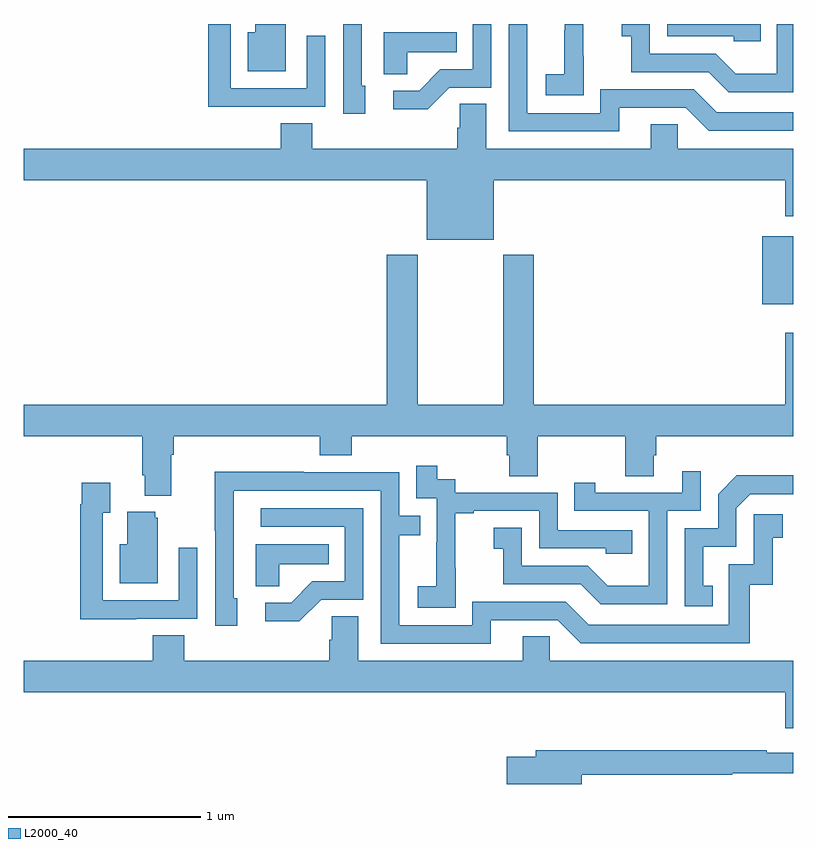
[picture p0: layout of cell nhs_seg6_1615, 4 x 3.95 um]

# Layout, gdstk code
import gdstk
lib = gdstk.Library(unit=1e-6, precision=1e-09)
def R(c, l, rs):  # rectangles x0, y0, x1, y1
    for r in rs: c.add(gdstk.rectangle(r[:2], r[2:], *l))
def P(c, l, *ps):  # polygons
    for p in ps: c.add(gdstk.Polygon(p, *l))
L2000_40 = (2000, 40)

nhs_seg6_1615 = lib.new_cell('nhs_seg6_1615')
R(nhs_seg6_1615, L2000_40, [(212.84,928.043,213,928.396)])
P(nhs_seg6_1615, L2000_40, [(213,929.5),(212.916,929.5),(212.916,929.242),(212.702,929.242),(212.598,929.346),(212.256,929.346),(212.256,929.5),(212.109,929.5),(212.109,929.435),(212.158,929.435),(212.158,929.25),(212.561,929.25),(212.666,929.145),(213,929.145)],
  [(210.361,929.5),(210.203,929.5),(210.203,929.458),(210.164,929.458),(210.164,929.255),(210.361,929.255)],
  [(210.251,929.07),(210.567,929.07),(210.567,929.44),(210.471,929.44),(210.471,929.166),(210.075,929.166),(210.075,929.5),(209.959,929.5),(209.959,929.069),(210.251,929.069)],
  [(211.911,929.335),(211.91,929.335),(211.91,929.5),(211.812,929.5),(211.812,929.468),(211.811,929.468),(211.811,929.239),(211.713,929.239),(211.713,929.129),(211.911,929.129)],
  [(212.095,929.064),(212.442,929.064),(212.562,928.944),(213,928.944),(213,929.04),(212.604,929.04),(212.484,929.16),(211.998,929.16),(211.998,929.037),(211.617,929.037),(211.617,929.5),(211.521,929.5),(211.521,928.941),(212.095,928.941)],
  [(210.775,929.178),(210.756,929.178),(210.756,929.5),(210.66,929.5),(210.66,929.034),(210.775,929.034)],
  [(212.831,929.5),(212.346,929.5),(212.346,929.436),(212.691,929.436),(212.691,929.409),(212.831,929.409)],
  [(211.212,929.169),(211.431,929.169),(211.431,929.5),(211.335,929.5),(211.335,929.265),(211.166,929.265),(211.055,929.154),(210.921,929.154),(210.921,929.057),(211.099,929.057)],
  [(210.993,929.354),(211.25,929.354),(211.25,929.458),(210.872,929.458),(210.872,929.239),(210.993,929.239)],
  [(212.4,928.979),(212.261,928.979),(212.261,928.852),(211.405,928.852),(211.405,929.084),(211.266,929.084),(211.266,928.961),(211.253,928.961),(211.253,928.852),(210.5,928.852),(210.5,928.985),(210.335,928.985),(210.335,928.852),(209,928.852),(209,928.688),(211.094,928.688),(211.094,928.379),(211.444,928.379),(211.444,928.688),(212.96,928.688),(212.96,928.5),(213,928.5),(213,928.852),(212.4,928.852)],
  [(209.767,927.26),(209.78,927.26),(209.78,927.356),(210.539,927.356),(210.539,927.257),(210.704,927.257),(210.704,927.356),(211.511,927.356),(211.511,927.258),(211.523,927.258),(211.523,927.148),(211.671,927.148),(211.671,927.356),(212.128,927.356),(212.128,927.148),(212.275,927.148),(212.275,927.258),(212.288,927.258),(212.288,927.356),(213,927.356),(213,927.895),(212.96,927.895),(212.96,927.52),(211.652,927.52),(211.652,928.3),(211.492,928.3),(211.492,927.52),(211.047,927.52),(211.047,928.3),(210.887,928.3),(210.887,927.52),(209,927.52),(209,927.356),(209.615,927.356),(209.615,927.154),(209.627,927.154),(209.627,927.047),(209.767,927.047)],
  [(211.245,926.671),(211.244,926.671),(211.244,926.955),(211.339,926.955),(211.339,926.967),(211.68,926.967),(211.68,926.772),(212.025,926.772),(212.025,926.745),(212.165,926.745),(212.165,926.868),(211.776,926.868),(211.776,927.063),(211.242,927.063),(211.242,927.132),(211.15,927.132),(211.15,927.202),(211.041,927.202),(211.041,927.033),(211.146,927.033),(211.146,926.804),(211.145,926.804),(211.145,926.575),(211.047,926.575),(211.047,926.465),(211.245,926.465)],
  [(212.346,926.967),(212.52,926.967),(212.52,927.175),(212.423,927.175),(212.423,927.063),(211.972,927.063),(211.972,927.115),(211.861,927.115),(211.861,926.967),(212.25,926.967),(212.25,926.578),(212.036,926.578),(211.932,926.682),(211.59,926.682),(211.59,926.881),(211.443,926.881),(211.443,926.771),(211.492,926.771),(211.492,926.586),(211.895,926.586),(212,926.481),(212.346,926.481)],
  [(211.429,926.4),(211.776,926.4),(211.896,926.28),(212.776,926.28),(212.776,926.583),(212.894,926.583),(212.894,926.829),(212.947,926.829),(212.947,926.95),(212.796,926.95),(212.796,926.691),(212.667,926.691),(212.667,926.376),(211.938,926.376),(211.818,926.496),(211.332,926.496),(211.332,926.373),(210.951,926.373),(210.951,926.842),(211.061,926.842),(211.061,926.943),(210.951,926.943),(210.951,927.168),(210.455,927.168),(210.455,927.17),(209.992,927.17),(209.992,926.863),(209.994,926.863),(209.994,926.37),(210.109,926.37),(210.109,926.514),(210.09,926.514),(210.09,927.072),(210.855,927.072),(210.855,926.277),(211.429,926.277)],
  [(212.582,926.577),(212.533,926.577),(212.533,926.781),(212.706,926.781),(212.706,926.982),(212.778,927.054),(213,927.054),(213,927.152),(212.708,927.152),(212.61,927.054),(212.61,926.877),(212.436,926.877),(212.436,926.472),(212.582,926.472)],
  [(209.585,926.406),(209.901,926.406),(209.901,926.776),(209.805,926.776),(209.805,926.502),(209.409,926.502),(209.409,926.959),(209.449,926.959),(209.449,927.115),(209.301,927.115),(209.301,927.002),(209.293,927.002),(209.293,926.405),(209.585,926.405)],
  [(210.546,926.505),(210.765,926.505),(210.765,926.982),(210.231,926.982),(210.231,926.886),(210.669,926.886),(210.669,926.601),(210.5,926.601),(210.389,926.49),(210.255,926.49),(210.255,926.393),(210.433,926.393)],
  [(209.695,926.931),(209.684,926.931),(209.684,926.962),(209.537,926.962),(209.537,926.794),(209.498,926.794),(209.498,926.591),(209.695,926.591)],
  [(210.327,926.69),(210.584,926.69),(210.584,926.794),(210.206,926.794),(210.206,926.575),(210.327,926.575)],
  [(213,926.188),(211.734,926.188),(211.734,926.315),(211.595,926.315),(211.595,926.188),(210.739,926.188),(210.739,926.42),(210.6,926.42),(210.6,926.297),(210.587,926.297),(210.587,926.188),(209.834,926.188),(209.834,926.321),(209.669,926.321),(209.669,926.188),(209,926.188),(209,926.024),(212.96,926.024),(212.96,925.836),(213,925.836)],
  [(211.9,925.594),(212.685,925.594),(212.685,925.602),(213,925.602),(213,925.71),(212.864,925.71),(212.864,925.723),(211.661,925.723),(211.661,925.689),(211.512,925.689),(211.512,925.547),(211.9,925.547)])

lib.write_gds('nhs_seg6_1615.gds')
